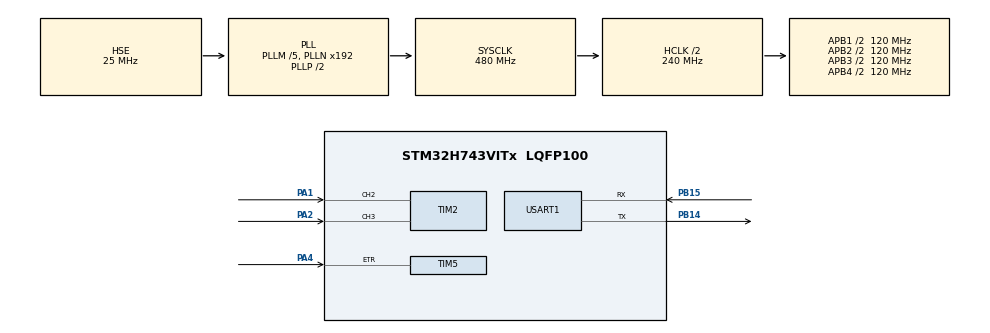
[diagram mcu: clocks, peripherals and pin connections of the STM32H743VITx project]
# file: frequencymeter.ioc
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Mcu.Family=STM32H7
Mcu.Name=STM32H743VITx
Mcu.Package=LQFP100
NVIC.PriorityGroup=NVIC_PRIORITYGROUP_4
NVIC.TIM2_IRQn=true\:0\:0\:false\:false\:true\:true\:true\:true
NVIC.TIM5_IRQn=true\:0\:0\:false\:false\:true\:true\:true\:true
NVIC.USART1_IRQn=true\:0\:0\:false\:false\:true\:true\:true\:true
PA1.Signal=S_TIM2_CH2
PA2.Signal=S_TIM2_CH3
PA4.Signal=S_TIM5_ETR
PB14.Mode=Asynchronous
PB14.Signal=USART1_TX
PB15.Mode=Asynchronous
PB15.Signal=USART1_RX
PH0-OSC_IN\ (PH0).Mode=HSE-External-Oscillator
PH0-OSC_IN\ (PH0).Signal=RCC_OSC_IN
PH1-OSC_OUT\ (PH1).Mode=HSE-External-Oscillator
PH1-OSC_OUT\ (PH1).Signal=RCC_OSC_OUT
ProjectManager.HeapSize=0x200
ProjectManager.StackSize=0x400
ProjectManager.TargetToolchain=MDK-ARM V5.32
RCC.ADCFreq_Value=50390625
RCC.APB1Freq_Value=120000000
RCC.APB2Freq_Value=120000000
RCC.APB3Freq_Value=120000000
RCC.APB4Freq_Value=120000000
RCC.CortexFreq_Value=480000000
RCC.D1PPRE=RCC_APB3_DIV2
RCC.D2PPRE1=RCC_APB1_DIV2
RCC.D2PPRE2=RCC_APB2_DIV2
RCC.D3PPRE=RCC_APB4_DIV2
RCC.DIVM1=5
RCC.DIVN1=192
RCC.HCLKFreq_Value=240000000
RCC.HPRE=RCC_HCLK_DIV2
RCC.PLLSourceVirtual=RCC_PLLSOURCE_HSE
RCC.SYSCLKFreq_VALUE=480000000
RCC.SYSCLKSource=RCC_SYSCLKSOURCE_PLLCLK
RCC.USBFreq_Value=480000000
SH.S_TIM2_CH2.0=TIM2_CH2,Input_Capture2_from_TI2
SH.S_TIM2_CH3.0=TIM2_CH3,Input_Capture3_from_TI3
SH.S_TIM5_ETR.0=TIM5_ETR,ClockSourceETR_Mode2
TIM2.Channel-Input_Capture2_from_TI2=TIM_CHANNEL_2
TIM2.Channel-Input_Capture3_from_TI3=TIM_CHANNEL_3
TIM2.Channel-Output\ Compare1\ No\ Output=TIM_CHANNEL_1
USART1.VirtualMode-Asynchronous=VM_ASYNC
VP_TIM2_VS_ClockSourceINT.Mode=Internal
VP_TIM2_VS_no_output1.Mode=Output Compare1 No Output
board=custom

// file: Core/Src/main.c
/* USER CODE BEGIN Header */
/**
 ******************************************************************************
 * @file           : main.c
 * @brief          : Main program body
 ******************************************************************************
 * @attention
 *
 * Copyright (c) 2024 STMicroelectronics.
 * All rights reserved.
 *
 * This software is licensed under terms that can be found in the LICENSE file
 * in the root directory of this software component.
 * If no LICENSE file comes with this software, it is provided AS-IS.
 *
 ******************************************************************************
 */
/* USER CODE END Header */
#include "main.h"
#include "tim.h"
#include "usart.h"
#include "gpio.h"

/* USER CODE BEGIN Includes */
#include "measure.h"
/* USER CODE END Includes */

/* USER CODE BEGIN PD */
mode m = BLANK;     // 模式选择
uint8_t rx_get = 3; // 串口接收数据存储
uint8_t flag_wait = 0;
/* USER CODE END PD */

/* USER CODE BEGIN PV */
method meth = MEASURE_FREQ_METHOD;
/* USER CODE END PV */

void SystemClock_Config(void);

int main(void)
{

  /* MCU Configuration--------------------------------------------------------*/

  /* Reset of all peripherals, Initializes the Flash interface and the Systick. */
  HAL_Init();

  /* Configure the system clock */
  SystemClock_Config();

  /* Initialize all configured peripherals */
  MX_GPIO_Init();
  MX_TIM5_Init();
  MX_USART1_UART_Init();
  MX_TIM2_Init();
  /* USER CODE BEGIN 2 */
  double freq;
  double gap;
  double high_lasting;
  double duty;
  double period;

  // printf("启动");
  /* USER CODE END 2 */

  /* Infinite loop */
  /* USER CODE BEGIN WHILE */
  HAL_UART_Receive_IT(&huart1, &rx_get, sizeof(rx_get));
  while (1)
  {
    /* USER CODE END WHILE */

    /* USER CODE BEGIN 3 */
    switch (m)
    {
    case FREQUENCY:

      // printf("FRE\n");
      switch (meth)
      {
      case MEASURE_FREQ_METHOD:
        printf("meth.txt=\"frequency method\"\xff\xff\xff");
        break;
      case MEASURE_PERIOD_HIGH_METHOD:
        printf("meth.txt=\"period method(100-10000Hz)\"\xff\xff\xff");
        break;
      case MEASURE_PERIOD_LOW_METHOD:
        printf("meth.txt=\"period method(1-100Hz)\"\xff\xff\xff");
        break;
      }
      freq = MeasureFreq_main();
      if (freq >= 1e6)
      {
        printf("fre.txt=\"%.6gMHz\"\xff\xff\xff", freq / 1e6);
        // printf("%.6gMHz\n", freq / 1e6);
      }
      else if (freq >= 1e3)
      {
        printf("fre.txt=\"%.6gKHz\"\xff\xff\xff", freq / 1e3);
        // printf("%.6gKHz\n", freq / 1e3);
      }
      else
      {
        printf("fre.txt=\"%.6gHz\"\xff\xff\xff", freq);
        // printf("%.6gHz\n", freq);
      }

      break;
    case GAP:
      if (flag_wait == 0)
      {
        flag_wait = 1;
        printf("itv.txt=\"waiting\"\xff\xff\xff");
      }
      m = FREQUENCY;
      freq = MeasureFreq_main();
      m = GAP;
      gap = MeasureGap();
      period = 1 / freq;
      if (gap > period)
      {
        gap -= (int)(gap / period) * period;
      }
      gap = (period - gap) > gap ? gap : (period - gap);
      // printf("signal interval:\n");
      if (gap <= 1e-6)
      {
        printf("itv.txt=\"%.6gns\"\xff\xff\xff", gap * 1e9);
      }
      else if (gap <= 1e-3)
      {
        printf("itv.txt=\"%.6gus\"\xff\xff\xff", gap * 1e6);
      }
      else if (gap < 1)
      {
        printf("itv.txt=\"%.6gms\"\xff\xff\xff", gap * 1e3);
      }
      else
      {
        printf("itv.txt=\"%.6gs\"\xff\xff\xff", gap);
      }
      HAL_Delay(200);
      break;
    case DUTY:
			//printf("DUTY\n");
      m = FREQUENCY;
      freq = MeasureFreq_main();
      m = DUTY;
      high_lasting = MeasureHigh();
      period = 1 / freq;
      if (high_lasting > period)
        high_lasting -= (int)(high_lasting / period) * period;
      duty = (high_lasting / period) * 100;
      printf("duty.txt=\"%.1lf%%\"\xff\xff\xff", duty);
      break;
    case BLANK:
      // printf("NOT\n");
      break;
    }
  }
  /* USER CODE END 3 */
}

void SystemClock_Config(void)
{
  RCC_OscInitTypeDef RCC_OscInitStruct = {0};
  RCC_ClkInitTypeDef RCC_ClkInitStruct = {0};

  /** Supply configuration update enable
   */
  HAL_PWREx_ConfigSupply(PWR_LDO_SUPPLY);

  /** Configure the main internal regulator output voltage
   */
  __HAL_PWR_VOLTAGESCALING_CONFIG(PWR_REGULATOR_VOLTAGE_SCALE1);

  while (!__HAL_PWR_GET_FLAG(PWR_FLAG_VOSRDY))
  {
  }

  __HAL_RCC_SYSCFG_CLK_ENABLE();
  __HAL_PWR_VOLTAGESCALING_CONFIG(PWR_REGULATOR_VOLTAGE_SCALE0);

  while (!__HAL_PWR_GET_FLAG(PWR_FLAG_VOSRDY))
  {
  }

  /** Initializes the RCC Oscillators according to the specified parameters
   * in the RCC_OscInitTypeDef structure.
   */
  RCC_OscInitStruct.OscillatorType = RCC_OSCILLATORTYPE_HSE;
  RCC_OscInitStruct.HSEState = RCC_HSE_ON;
  RCC_OscInitStruct.PLL.PLLState = RCC_PLL_ON;
  RCC_OscInitStruct.PLL.PLLSource = RCC_PLLSOURCE_HSE;
  RCC_OscInitStruct.PLL.PLLM = 5;
  RCC_OscInitStruct.PLL.PLLN = 192;
  RCC_OscInitStruct.PLL.PLLP = 2;
  RCC_OscInitStruct.PLL.PLLQ = 2;
  RCC_OscInitStruct.PLL.PLLR = 2;
  RCC_OscInitStruct.PLL.PLLRGE = RCC_PLL1VCIRANGE_2;
  RCC_OscInitStruct.PLL.PLLVCOSEL = RCC_PLL1VCOWIDE;
  RCC_OscInitStruct.PLL.PLLFRACN = 0;
  if (HAL_RCC_OscConfig(&RCC_OscInitStruct) != HAL_OK)
  {
    Error_Handler();
  }

  /** Initializes the CPU, AHB and APB buses clocks
   */
  RCC_ClkInitStruct.ClockType = RCC_CLOCKTYPE_HCLK | RCC_CLOCKTYPE_SYSCLK | RCC_CLOCKTYPE_PCLK1 | RCC_CLOCKTYPE_PCLK2 | RCC_CLOCKTYPE_D3PCLK1 | RCC_CLOCKTYPE_D1PCLK1;
  RCC_ClkInitStruct.SYSCLKSource = RCC_SYSCLKSOURCE_PLLCLK;
  RCC_ClkInitStruct.SYSCLKDivider = RCC_SYSCLK_DIV1;
  RCC_ClkInitStruct.AHBCLKDivider = RCC_HCLK_DIV2;
  RCC_ClkInitStruct.APB3CLKDivider = RCC_APB3_DIV2;
  RCC_ClkInitStruct.APB1CLKDivider = RCC_APB1_DIV2;
  RCC_ClkInitStruct.APB2CLKDivider = RCC_APB2_DIV2;
  RCC_ClkInitStruct.APB4CLKDivider = RCC_APB4_DIV2;

  if (HAL_RCC_ClockConfig(&RCC_ClkInitStruct, FLASH_LATENCY_4) != HAL_OK)
  {
    Error_Handler();
  }
}

/* USER CODE BEGIN 4 */
/*************串口中断************/
void HAL_UART_RxCpltCallback(UART_HandleTypeDef *huart)
{
  if (huart->Instance == USART1)
  {
    // printf("中断");
    flag_wait = 0;
    if (rx_get == 3)
      m = BLANK;
    else if (rx_get == 1)
      m = FREQUENCY;
    else if (rx_get == 2)
      m = GAP;
    else if (rx_get == 4)
      m = DUTY;
    HAL_UART_Receive_IT(&huart1, &rx_get, sizeof(rx_get));
  }
}
/* USER CODE END 4 */

void Error_Handler(void)
{
  __disable_irq();
  while (1)
  {
  }
}
